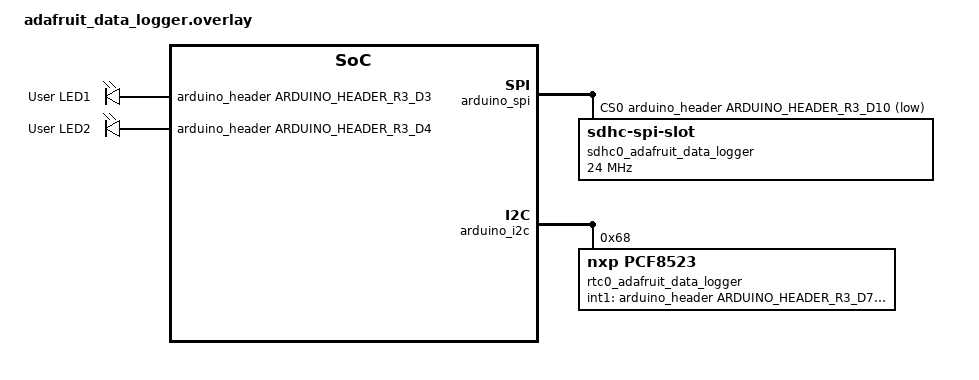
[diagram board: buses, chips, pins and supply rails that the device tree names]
/*
 * Copyright (c) 2019-2023 Henrik Brix Andersen <henrik@brixandersen.dk>
 *
 * SPDX-License-Identifier: Apache-2.0
 */

 #include <zephyr/dt-bindings/gpio/arduino-header-r3.h>

/ {
	aliases {
		rtc = &rtc0_adafruit_data_logger;
	};

	leds {
		compatible = "gpio-leds";
		/*
		 * LED1 connection must be manually established using a jumper between
		 * pins "L1" and "Digital I/O 3".
		 */
		green_led_adafruit_data_logger: led_1__adafruit_data_logger {
			gpios = <&arduino_header ARDUINO_HEADER_R3_D3 GPIO_ACTIVE_HIGH>;
			label = "User LED1";
		};
		/*
		 * LED2 connection must be manually established using a jumper between
		 * pins "L2" and "Digital I/O 4".
		 */
		red_led_adafruit_data_logger: led_2_adafruit_data_logger {
			gpios = <&arduino_header ARDUINO_HEADER_R3_D4 GPIO_ACTIVE_HIGH>;
			label = "User LED2";
		};
	};

};

&arduino_spi {
	status = "okay";
	cs-gpios = <&arduino_header ARDUINO_HEADER_R3_D10 GPIO_ACTIVE_LOW>;

	sdhc0_adafruit_data_logger: sdhc@0 {
		compatible = "zephyr,sdhc-spi-slot";
		reg = <0>;
		spi-max-frequency = <24000000>;
		status = "okay";

		sdmmc {
			compatible = "zephyr,sdmmc-disk";
			disk-name = "SD";
			status = "okay";
		};
	};
};

&arduino_i2c {
	status = "okay";

	rtc0_adafruit_data_logger: rtc@68 {
		compatible = "nxp,pcf8523";
		reg = <0x68>;
		alarms-count = <1>;
		battery-switch-over = "standard";
		/*
		 * Interrupt connection must be manually established using a jumper wire between
		 * pins "SQ" and "Digital I/O 7".
		 */
		int1-gpios = <&arduino_header ARDUINO_HEADER_R3_D7
			      (GPIO_ACTIVE_LOW | GPIO_PULL_UP)>;
		status = "okay";
	};
};
